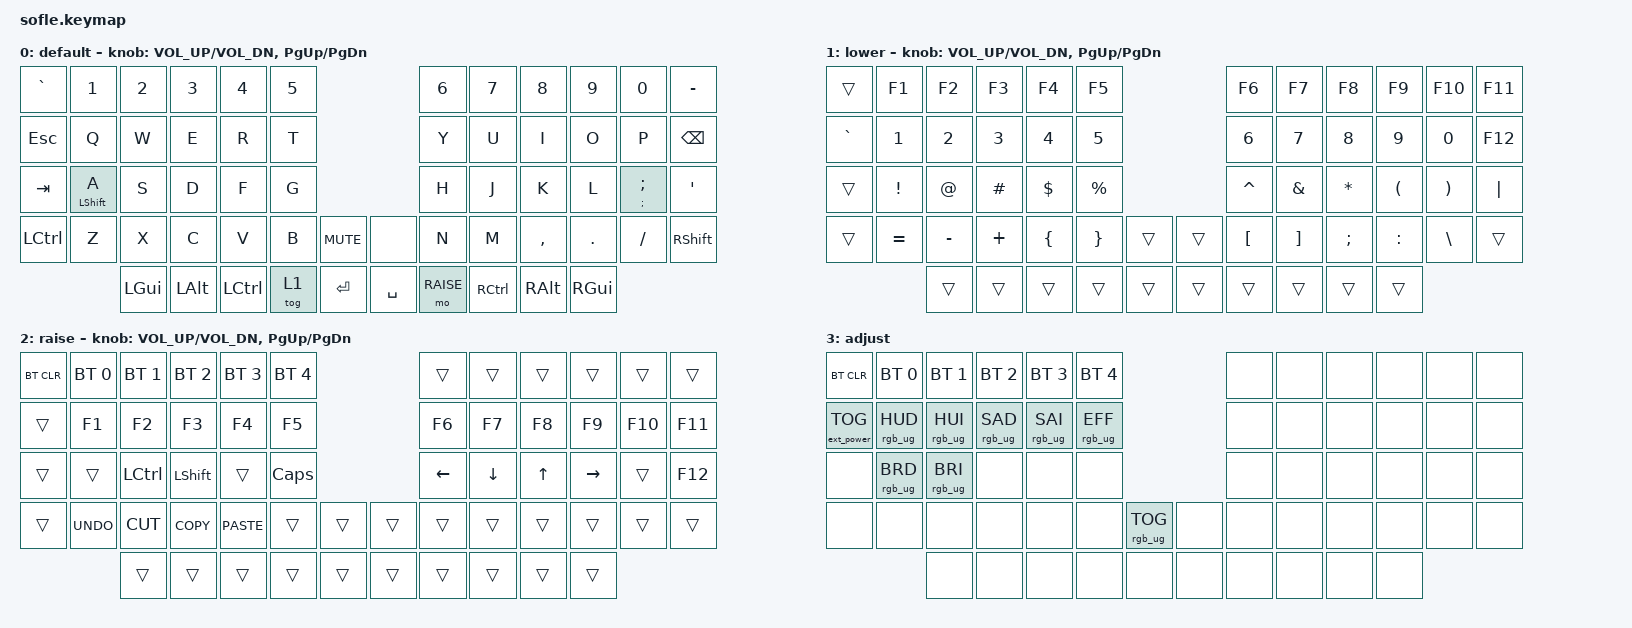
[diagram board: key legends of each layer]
/*
 * Copyright (c) 2020 The ZMK Contributors
 *
 * SPDX-License-Identifier: MIT
 */

#include <behaviors.dtsi>
#include <dt-bindings/zmk/bt.h>
#include <dt-bindings/zmk/ext_power.h>
#include <dt-bindings/zmk/keys.h>
#include <dt-bindings/zmk/rgb.h>

#define BASE 0
#define LOWER 1
#define RAISE 2
#define ADJUST 3

/ {
    // Activate ADJUST layer by pressing raise and lower

    conditional_layers {
        compatible = "zmk,conditional-layers";

        adjust_layer {
            if-layers = <LOWER RAISE>;
            then-layer = <ADJUST>;
        };
    };

    behaviors {
        HMR: HMR {
            compatible = "zmk,behavior-hold-tap";
            label = "HMR";
            bindings = <&kp>, <&kp>;

            #binding-cells = <2>;
            tapping-term-ms = <280>;
            quick-tap-ms = <175>;
            flavor = "tap-preferred";
            hold-trigger-on-release;
            hold-trigger-key-positions = <0 12 24 36 25 13 1 2 14 26 50 38 37 39 27 3 4 15 16 28 40 52 51 53 54 17 5 3 4 5 15 16 17 27 28 29 39 40 41 42 51 52 53 54>;
        };
    };

    keymap {
        compatible = "zmk,keymap";

        default_layer {
            display-name = "default";

            // ------------------------------------------------------------------------------------------------------------
            // |   `   |  1  |  2  |  3   |  4   |  5   |                   |  6   |  7    |  8    |  9   |   0   |       |
            // |  ESC  |  Q  |  W  |  E   |  R   |  T   |                   |  Y   |  U    |  I    |  O   |   P   | BKSPC |
            // |  TAB  |  A  |  S  |  D   |  F   |  G   |                   |  H   |  J    |  K    |  L   |   ;   |   '   |
            // | SHIFT |  Z  |  X  |  C   |  V   |  B   |  MUTE  |  |       |  N   |  M    |  ,    |  .   |   /   | SHIFT |
            //               | GUI | ALT  | CTRL | LOWER|  ENTER |  | SPACE | RAISE| CTRL  | ALT   | GUI  |

            bindings = <
&kp GRAVE         &kp N1             &kp N2    &kp N3    &kp N4     &kp N5                           &kp N6     &kp N7     &kp N8     &kp N9    &kp N0                    &kp MINUS
&kp ESC           &kp Q              &kp W     &kp E     &kp R      &kp T                            &kp Y      &kp U      &kp I      &kp O     &kp P                     &kp BSPC
&kp TAB           &HMR LEFT_SHIFT A  &kp S     &kp D     &kp F      &kp G                            &kp H      &kp J      &kp K      &kp L     &HMR SEMICOLON SEMICOLON  &kp SQT
&kp LEFT_CONTROL  &kp Z              &kp X     &kp C     &kp V      &kp B   &kp C_MUTE    &none      &kp N      &kp M      &kp COMMA  &kp DOT   &kp FSLH                  &kp RSHFT
                                     &kp LGUI  &kp LALT  &kp LCTRL  &tog 1  &kp RET       &kp SPACE  &mo RAISE  &kp RCTRL  &kp RALT   &kp RGUI
            >;

            sensor-bindings = <&inc_dec_kp C_VOL_UP C_VOL_DN &inc_dec_kp PG_UP PG_DN>;
        };

        lower_layer {
            display-name = "lower";

            // TODO: Some binds are waiting for shifted keycode support.
            // ------------------------------------------------------------------------------------------------------------
            // |       |  F1 |  F2 |  F3  |  F4  |  F5  |                   |  F6  |  F7   |  F8   |  F9  |  F10  |  F11  |
            // |   `   |  1  |  2  |  3   |  4   |  5   |                   |  6   |  7    |  8    |  9   |   0   |  F12  |
            // |       |  !  |  @  |  #   |  $   |  %   |                   |  ^   |  &    |  *    |  (   |   )   |   |   |
            // |       |  =  |  -  |  +   |  {   |  }   |        |  |       |  [   |  ]    |  ;    |  :   |   \   |       |
            //               |     |      |      |      |        |  |       |      |       |       |      |

            bindings = <
&trans     &kp F1     &kp F2     &kp F3    &kp F4    &kp F5                       &kp F6     &kp F7    &kp F8     &kp F9     &kp F10   &kp F11
&kp GRAVE  &kp N1     &kp N2     &kp N3    &kp N4    &kp N5                       &kp N6     &kp N7    &kp N8     &kp N9     &kp N0    &kp F12
&trans     &kp EXCL   &kp AT     &kp HASH  &kp DLLR  &kp PRCNT                    &kp CARET  &kp AMPS  &kp ASTRK  &kp LPAR   &kp RPAR  &kp PIPE
&trans     &kp EQUAL  &kp MINUS  &kp PLUS  &kp LBRC  &kp RBRC   &trans    &trans  &kp LBKT   &kp RBKT  &kp SEMI   &kp COLON  &kp BSLH  &trans
                      &trans     &trans    &trans    &trans     &trans    &trans  &trans     &trans    &trans     &trans
            >;

            sensor-bindings = <&inc_dec_kp C_VOL_UP C_VOL_DN &inc_dec_kp PG_UP PG_DN>;
        };

        raise_layer {
            display-name = "raise";

            // ------------------------------------------------------------------------------------------------------------
            // | BTCLR | BT1  | BT2  |  BT3  |  BT4  |  BT5 |                |      |      |       |      |       |       |
            // |       | INS  | PSCR | GUI   |       |      |                | PGUP |      |   ^   |      |       |       |
            // |       | ALT  | CTRL | SHIFT |       | CAPS |                | PGDN |   <- |   v   |  ->  |  DEL  | BKSPC |
            // |       | UNDO | CUT  | COPY  | PASTE |      |      |  |      |      |      |       |      |       |       |
            //                |      |       |       |      |      |  |      |      |      |       |      |

            bindings = <
&bt BT_CLR  &bt BT_SEL 0  &bt BT_SEL 1  &bt BT_SEL 2  &bt BT_SEL 3  &bt BT_SEL 4                    &trans    &trans    &trans  &trans     &trans   &trans
&trans      &kp F1        &kp F2        &kp F3        &kp F4        &kp F5                          &kp F6    &kp F7    &kp F8  &kp F9     &kp F10  &kp F11
&trans      &trans        &kp LCTRL     &kp LSHFT     &trans        &kp CLCK                        &kp LEFT  &kp DOWN  &kp UP  &kp RIGHT  &trans   &kp F12
&trans      &kp K_UNDO    &kp K_CUT     &kp K_COPY    &kp K_PASTE   &trans        &trans    &trans  &trans    &trans    &trans  &trans     &trans   &trans
                          &trans        &trans        &trans        &trans        &trans    &trans  &trans    &trans    &trans  &trans
            >;

            sensor-bindings = <&inc_dec_kp C_VOL_UP C_VOL_DN &inc_dec_kp PG_UP PG_DN>;
        };

        adjust_layer {
            // ----------------------------------------------------------------------------------------------------------------------------
            // | BTCLR  |  BT1    |  BT2    |   BT3   |   BT4   |   BT5   |                  |      |      |       |      |       |       |
            // | EXTPWR | RGB_HUD | RGB_HUI | RGB_SAD | RGB_SAI | RGB_EFF |                  |      |      |       |      |       |       |
            // |        | RGB_BRD | RGB_BRI |         |         |         |                  |      |      |       |      |       |       |
            // |        |         |         |         |         |         | RGB_TOG | |      |      |      |       |      |       |       |
            //                    |         |         |         |         |         | |      |      |      |       |      |

            display-name = "adjust";
            bindings = <
&bt BT_CLR         &bt BT_SEL 0     &bt BT_SEL 1     &bt BT_SEL 2     &bt BT_SEL 3     &bt BT_SEL 4                               &none  &none  &none  &none  &none  &none
&ext_power EP_TOG  &rgb_ug RGB_HUD  &rgb_ug RGB_HUI  &rgb_ug RGB_SAD  &rgb_ug RGB_SAI  &rgb_ug RGB_EFF                            &none  &none  &none  &none  &none  &none
&none              &rgb_ug RGB_BRD  &rgb_ug RGB_BRI  &none            &none            &none                                      &none  &none  &none  &none  &none  &none
&none              &none            &none            &none            &none            &none            &rgb_ug RGB_TOG    &none  &none  &none  &none  &none  &none  &none
                                    &none            &none            &none            &none            &none              &none  &none  &none  &none  &none
            >;
        };
    };
};
